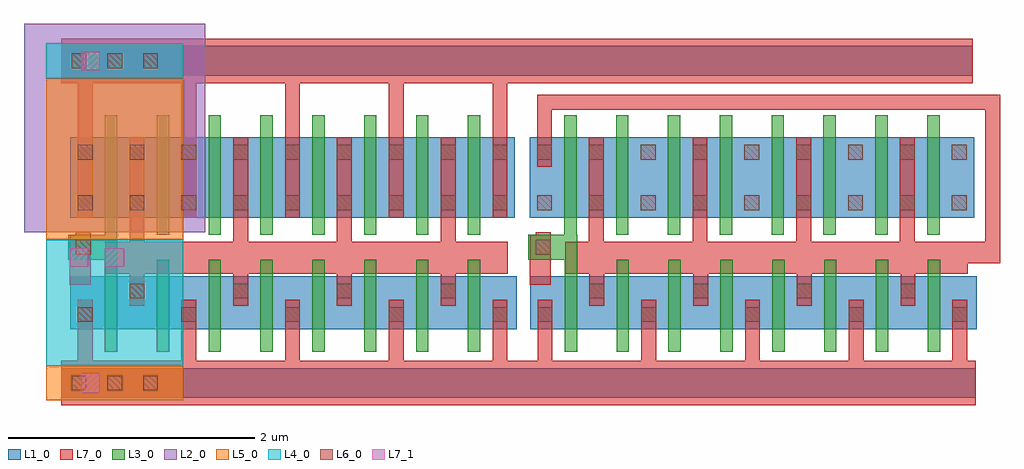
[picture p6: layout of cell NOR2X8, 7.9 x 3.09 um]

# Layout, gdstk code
import gdstk
lib = gdstk.Library(unit=1e-6, precision=1e-09)
def R(c, l, rs):  # rectangles x0, y0, x1, y1
    for r in rs: c.add(gdstk.rectangle(r[:2], r[2:], *l))
def A(c, l, x, y, w, h, nx, ny, dx, dy):  # array of equal rectangles
    R(c, l, [(x+i*dx, y+j*dy, x+i*dx+w, y+j*dy+h) for i in range(nx) for j in range(ny)])
L1_0 = (1, 0)
L2_0 = (2, 0)
L3_0 = (3, 0)
L4_0 = (4, 0)
L5_0 = (5, 0)
L6_0 = (6, 0)
L7_0 = (7, 0)
L7_1 = (7, 1)

nor2x8 = lib.new_cell('NOR2X8')
R(nor2x8, L1_0, [(-1.435,-0.14,5.975,0.1), (-1.36,0.415,2.255,0.845), (2.365,0.415,5.98,0.845), (-1.36,1.32,2.24,1.97), (2.36,1.32,5.96,1.97), (-1.435,2.47,5.95,2.71)])
R(nor2x8, L2_0, [(-1.735,1.2,-0.265,2.89)])
A(nor2x8, L3_0, -1.08, 0.235, 0.1, 0.745, 8, 1, 0.42, 0)
A(nor2x8, L3_0, 2.645, 0.235, 0.1, 0.745, 8, 1, 0.42, 0)
A(nor2x8, L3_0, -1.08, 1.18, 0.1, 0.97, 8, 1, 0.42, 0)
A(nor2x8, L3_0, 2.64, 1.18, 0.1, 0.97, 8, 1, 0.42, 0)
R(nor2x8, L3_0, [(-1.375,0.98,-0.98,1.18), (2.35,0.98,2.745,1.18)])
R(nor2x8, L4_0, [(-1.555,0.12,-0.445,1.14), (-1.555,2.45,-0.445,2.73)])
R(nor2x8, L5_0, [(-1.555,-0.16,-0.445,0.12), (-1.555,1.14,-0.445,2.45)])
A(nor2x8, L6_0, -1.35, -0.08, 0.12, 0.12, 3, 2, 0.29, 2.61)
A(nor2x8, L6_0, -1.3, 0.475, 0.12, 0.12, 5, 1, 0.84, 0)
A(nor2x8, L6_0, 2.425, 0.475, 0.12, 0.12, 5, 1, 0.84, 0)
A(nor2x8, L6_0, -0.88, 0.665, 0.12, 0.12, 4, 1, 0.84, 0)
A(nor2x8, L6_0, 2.845, 0.665, 0.12, 0.12, 4, 1, 0.84, 0)
A(nor2x8, L6_0, -1.3, 1.38, 0.12, 0.12, 9, 2, 0.42, 0.41)
A(nor2x8, L6_0, 2.42, 1.38, 0.12, 0.12, 9, 2, 0.42, 0.41)
R(nor2x8, L6_0, [(-1.315,1.02,-1.195,1.14), (2.41,1.02,2.53,1.14)])
A(nor2x8, L7_0, -1.3, 0.16, 0.12, 0.495, 5, 1, 0.84, 0)
A(nor2x8, L7_0, 2.425, 0.16, 0.12, 0.495, 5, 1, 0.84, 0)
A(nor2x8, L7_0, -0.88, 0.605, 0.12, 0.26, 4, 1, 0.84, 0)
A(nor2x8, L7_0, 2.845, 0.605, 0.12, 0.26, 4, 1, 0.84, 0)
A(nor2x8, L7_0, -0.88, 1.125, 0.12, 0.845, 4, 1, 0.84, 0)
A(nor2x8, L7_0, 2.84, 1.125, 0.12, 0.845, 4, 1, 0.84, 0)
A(nor2x8, L7_0, -1.3, 1.32, 0.12, 1.09, 5, 1, 0.84, 0)
R(nor2x8, L7_0, [(-1.435,-0.2,5.975,0.16), (-1.365,0.775,-1.195,1.18), (2.36,0.775,2.53,1.18), (-1.075,0.865,2.185,1.125), (2.65,0.865,5.91,1.125), (5.91,0.95,6.05,1.125), (-1.315,1.18,-1.195,1.2), (2.41,1.18,2.53,1.2), (2.42,1.73,2.54,1.79), (-1.435,2.41,5.95,2.77)])
R(nor2x8, L7_1, [(-1.27,-0.095,-1.12,0.055), (-1.365,0.92,-1.215,1.07), (-1.075,0.92,-0.925,1.07), (-1.27,2.515,-1.12,2.665)])
nor2x8.add(gdstk.FlexPath([(2.48,1.79),(2.48,2.255),(6.11,2.255),(6.11,0.95)], 0.12, ends="flush", simple_path=True, layer=7, datatype=0))  # L7_0

lib.write_gds('NOR2X8.gds')
